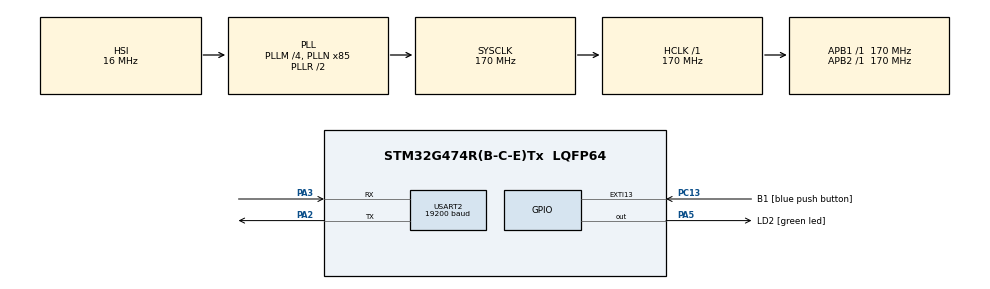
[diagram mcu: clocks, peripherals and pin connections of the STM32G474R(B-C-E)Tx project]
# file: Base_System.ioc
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Dma.Request0=USART2_TX
Dma.Request1=USART2_RX
Dma.USART2_RX.1.Direction=DMA_PERIPH_TO_MEMORY
Dma.USART2_RX.1.EventEnable=DISABLE
Dma.USART2_RX.1.Instance=DMA1_Channel2
Dma.USART2_RX.1.MemDataAlignment=DMA_MDATAALIGN_BYTE
Dma.USART2_RX.1.MemInc=DMA_MINC_ENABLE
Dma.USART2_RX.1.Mode=DMA_NORMAL
Dma.USART2_RX.1.PeriphDataAlignment=DMA_PDATAALIGN_BYTE
Dma.USART2_RX.1.PeriphInc=DMA_PINC_DISABLE
Dma.USART2_RX.1.Polarity=HAL_DMAMUX_REQ_GEN_RISING
Dma.USART2_RX.1.Priority=DMA_PRIORITY_LOW
Dma.USART2_RX.1.RequestNumber=1
Dma.USART2_RX.1.SignalID=NONE
Dma.USART2_RX.1.SyncEnable=DISABLE
Dma.USART2_RX.1.SyncPolarity=HAL_DMAMUX_SYNC_NO_EVENT
Dma.USART2_RX.1.SyncRequestNumber=1
Dma.USART2_RX.1.SyncSignalID=NONE
Dma.USART2_TX.0.Direction=DMA_MEMORY_TO_PERIPH
Dma.USART2_TX.0.EventEnable=DISABLE
Dma.USART2_TX.0.Instance=DMA1_Channel1
Dma.USART2_TX.0.MemDataAlignment=DMA_MDATAALIGN_BYTE
Dma.USART2_TX.0.MemInc=DMA_MINC_ENABLE
Dma.USART2_TX.0.Mode=DMA_NORMAL
Dma.USART2_TX.0.PeriphDataAlignment=DMA_PDATAALIGN_BYTE
Dma.USART2_TX.0.PeriphInc=DMA_PINC_DISABLE
Dma.USART2_TX.0.Polarity=HAL_DMAMUX_REQ_GEN_RISING
Dma.USART2_TX.0.Priority=DMA_PRIORITY_LOW
Dma.USART2_TX.0.RequestNumber=1
Dma.USART2_TX.0.SignalID=NONE
Dma.USART2_TX.0.SyncEnable=DISABLE
Dma.USART2_TX.0.SyncPolarity=HAL_DMAMUX_SYNC_NO_EVENT
Dma.USART2_TX.0.SyncRequestNumber=1
Dma.USART2_TX.0.SyncSignalID=NONE
Mcu.Family=STM32G4
Mcu.Name=STM32G474R(B-C-E)Tx
Mcu.Package=LQFP64
NVIC.DMA1_Channel1_IRQn=true\:0\:0\:false\:false\:true\:false\:true\:true
NVIC.DMA1_Channel2_IRQn=true\:0\:0\:false\:false\:true\:false\:true\:true
NVIC.EXTI15_10_IRQn=true\:0\:0\:false\:false\:true\:true\:true\:true
NVIC.PriorityGroup=NVIC_PRIORITYGROUP_4
NVIC.TIM1_UP_TIM16_IRQn=true\:0\:0\:false\:false\:true\:true\:true\:true
NVIC.USART2_IRQn=true\:0\:0\:false\:false\:true\:true\:true\:true
PA13.GPIO_Label=T_SWDIO
PA13.Signal=SYS_JTMS-SWDIO
PA14.GPIO_Label=T_SWCLK
PA14.Signal=SYS_JTCK-SWCLK
PA2.Mode=Asynchronous
PA2.Signal=USART2_TX
PA3.Mode=Asynchronous
PA3.Signal=USART2_RX
PA5.GPIO_Label=LD2 [green led]
PA5.Signal=GPIO_Output
PB3.GPIO_Label=T_SWO
PB3.Signal=SYS_JTDO-SWO
PC13.GPIO_Label=B1 [blue push button]
PC13.Signal=GPXTI13
PC14-OSC32_IN.GPIO_Label=RCC_OSC32_IN
PC14-OSC32_IN.Signal=RCC_OSC32_IN
PC15-OSC32_OUT.GPIO_Label=RCC_OSC32_OUT
PC15-OSC32_OUT.Signal=RCC_OSC32_OUT
PF0-OSC_IN.GPIO_Label=RCC_OSC_IN
PF0-OSC_IN.Signal=RCC_OSC_IN
PF1-OSC_OUT.GPIO_Label=RCC_OSC_OUT
PF1-OSC_OUT.Signal=RCC_OSC_OUT
ProjectManager.HeapSize=0x200
ProjectManager.StackSize=0x400
ProjectManager.TargetToolchain=STM32CubeIDE
RCC.ADC12Freq_Value=170000000
RCC.ADC345Freq_Value=170000000
RCC.AHBFreq_Value=170000000
RCC.APB1Freq_Value=170000000
RCC.APB1TimFreq_Value=170000000
RCC.APB2Freq_Value=170000000
RCC.APB2TimFreq_Value=170000000
RCC.CortexFreq_Value=170000000
RCC.EXTERNAL_CLOCK_VALUE=12288000
RCC.HCLKFreq_Value=170000000
RCC.HSE_VALUE=24000000
RCC.HSI48_VALUE=48000000
RCC.HSI_VALUE=16000000
RCC.LSE_VALUE=32768
RCC.PLLM=RCC_PLLM_DIV4
RCC.PLLN=85
RCC.RTCClockSelection=RCC_RTCCLKSOURCE_LSE
RCC.SYSCLKFreq_VALUE=170000000
RCC.SYSCLKSource=RCC_SYSCLKSOURCE_PLLCLK
RCC.USBFreq_Value=170000000
RCC.VCOOutputFreq_Value=340000000
TIM16.Channel=TIM_CHANNEL_1
TIM16.PeriodNoDither=1145
TIM16.Prescaler=169
USART2.BaudRate=19200
USART2.Parity=PARITY_EVEN
USART2.VirtualMode-Asynchronous=VM_ASYNC
USART2.WordLength=WORDLENGTH_9B
VP_SYS_VS_DBSignals.Mode=DisableDeadBatterySignals
VP_TIM16_VS_ClockSourceINT.Mode=Enable_Timer
VP_TIM16_VS_OPM.Mode=OPM_bit
VP_TIM16_VS_no_output1.Mode=Output Compare1 No Output
board=NUCLEO-G474RE

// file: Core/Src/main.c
/* USER CODE BEGIN Header */
/**
  ******************************************************************************
  * @file           : main.c
  * @brief          : Main program body
  ******************************************************************************
  * @attention
  *
  * Copyright (c) 2026 STMicroelectronics.
  * All rights reserved.
  *
  * This software is licensed under terms that can be found in the LICENSE file
  * in the root directory of this software component.
  * If no LICENSE file comes with this software, it is provided AS-IS.
  *
  ******************************************************************************
  */
/* USER CODE END Header */
#include "main.h"

/* USER CODE BEGIN Includes */
#include "BaseSystem.h"
/* USER CODE END Includes */

TIM_HandleTypeDef htim16;

UART_HandleTypeDef huart2;
DMA_HandleTypeDef hdma_usart2_tx;
DMA_HandleTypeDef hdma_usart2_rx;

/* USER CODE BEGIN PV */
float Cur_Pos;
float Cur_Vel;
float Cur_Acc;
uint16_t Task;
bool Emergency;
bool Grip_up;
//bool Grip_down;
bool Grip_close;
/* USER CODE END PV */

void SystemClock_Config(void);
static void MX_GPIO_Init(void);
static void MX_DMA_Init(void);
static void MX_TIM16_Init(void);
static void MX_USART2_UART_Init(void);

int main(void)
{

  /* MCU Configuration--------------------------------------------------------*/

  /* Reset of all peripherals, Initializes the Flash interface and the Systick. */
  HAL_Init();

  /* Configure the system clock */
  SystemClock_Config();

  /* Initialize all configured peripherals */
  MX_GPIO_Init();
  MX_DMA_Init();
  MX_TIM16_Init();
  MX_USART2_UART_Init();
  /* USER CODE BEGIN 2 */
  hmodbus.huart = &huart2; // เปลี่ยนเป็น huart ของคุณ (เช่น huart1 หรือ huart2)
  hmodbus.htim = &htim16;
  hmodbus.slaveAddress = 0x15;
  hmodbus.RegisterSize = BASE_SYSTEM_REG_COUNT;

  Modbus_init(&hmodbus, registerFrame);
  /* USER CODE END 2 */

  /* Infinite loop */
  while (1)
  {

    /* USER CODE BEGIN 3 */
	  Modbus_Protocal_Worker();
	  BaseSystem_SendMotionStatus(Cur_Pos, Cur_Vel, Cur_Acc);
	  BaseSystem_SendRobotTask(Task,Emergency);
	  BaseSystem_SendSensorStatus(Grip_up,!Grip_up,Grip_close);
  }
  /* USER CODE END 3 */
}

void SystemClock_Config(void)
{
  RCC_OscInitTypeDef RCC_OscInitStruct = {0};
  RCC_ClkInitTypeDef RCC_ClkInitStruct = {0};

  /** Configure the main internal regulator output voltage
  */
  HAL_PWREx_ControlVoltageScaling(PWR_REGULATOR_VOLTAGE_SCALE1_BOOST);

  /** Initializes the RCC Oscillators according to the specified parameters
  * in the RCC_OscInitTypeDef structure.
  */
  RCC_OscInitStruct.OscillatorType = RCC_OSCILLATORTYPE_HSI;
  RCC_OscInitStruct.HSIState = RCC_HSI_ON;
  RCC_OscInitStruct.HSICalibrationValue = RCC_HSICALIBRATION_DEFAULT;
  RCC_OscInitStruct.PLL.PLLState = RCC_PLL_ON;
  RCC_OscInitStruct.PLL.PLLSource = RCC_PLLSOURCE_HSI;
  RCC_OscInitStruct.PLL.PLLM = RCC_PLLM_DIV4;
  RCC_OscInitStruct.PLL.PLLN = 85;
  RCC_OscInitStruct.PLL.PLLP = RCC_PLLP_DIV2;
  RCC_OscInitStruct.PLL.PLLQ = RCC_PLLQ_DIV2;
  RCC_OscInitStruct.PLL.PLLR = RCC_PLLR_DIV2;
  if (HAL_RCC_OscConfig(&RCC_OscInitStruct) != HAL_OK)
  {
    Error_Handler();
  }

  /** Initializes the CPU, AHB and APB buses clocks
  */
  RCC_ClkInitStruct.ClockType = RCC_CLOCKTYPE_HCLK|RCC_CLOCKTYPE_SYSCLK
                              |RCC_CLOCKTYPE_PCLK1|RCC_CLOCKTYPE_PCLK2;
  RCC_ClkInitStruct.SYSCLKSource = RCC_SYSCLKSOURCE_PLLCLK;
  RCC_ClkInitStruct.AHBCLKDivider = RCC_SYSCLK_DIV1;
  RCC_ClkInitStruct.APB1CLKDivider = RCC_HCLK_DIV1;
  RCC_ClkInitStruct.APB2CLKDivider = RCC_HCLK_DIV1;

  if (HAL_RCC_ClockConfig(&RCC_ClkInitStruct, FLASH_LATENCY_4) != HAL_OK)
  {
    Error_Handler();
  }
}

static void MX_TIM16_Init(void)
{

  TIM_OC_InitTypeDef sConfigOC = {0};
  TIM_BreakDeadTimeConfigTypeDef sBreakDeadTimeConfig = {0};

  htim16.Instance = TIM16;
  htim16.Init.Prescaler = 169;
  htim16.Init.CounterMode = TIM_COUNTERMODE_UP;
  htim16.Init.Period = 1145;
  htim16.Init.ClockDivision = TIM_CLOCKDIVISION_DIV1;
  htim16.Init.RepetitionCounter = 0;
  htim16.Init.AutoReloadPreload = TIM_AUTORELOAD_PRELOAD_DISABLE;
  if (HAL_TIM_Base_Init(&htim16) != HAL_OK)
  {
    Error_Handler();
  }
  if (HAL_TIM_OC_Init(&htim16) != HAL_OK)
  {
    Error_Handler();
  }
  if (HAL_TIM_OnePulse_Init(&htim16, TIM_OPMODE_SINGLE) != HAL_OK)
  {
    Error_Handler();
  }
  sConfigOC.OCMode = TIM_OCMODE_TIMING;
  sConfigOC.Pulse = 0;
  sConfigOC.OCPolarity = TIM_OCPOLARITY_HIGH;
  sConfigOC.OCNPolarity = TIM_OCNPOLARITY_HIGH;
  sConfigOC.OCFastMode = TIM_OCFAST_DISABLE;
  sConfigOC.OCIdleState = TIM_OCIDLESTATE_RESET;
  sConfigOC.OCNIdleState = TIM_OCNIDLESTATE_RESET;
  if (HAL_TIM_OC_ConfigChannel(&htim16, &sConfigOC, TIM_CHANNEL_1) != HAL_OK)
  {
    Error_Handler();
  }
  sBreakDeadTimeConfig.OffStateRunMode = TIM_OSSR_DISABLE;
  sBreakDeadTimeConfig.OffStateIDLEMode = TIM_OSSI_DISABLE;
  sBreakDeadTimeConfig.LockLevel = TIM_LOCKLEVEL_OFF;
  sBreakDeadTimeConfig.DeadTime = 0;
  sBreakDeadTimeConfig.BreakState = TIM_BREAK_DISABLE;
  sBreakDeadTimeConfig.BreakPolarity = TIM_BREAKPOLARITY_HIGH;
  sBreakDeadTimeConfig.BreakFilter = 0;
  sBreakDeadTimeConfig.AutomaticOutput = TIM_AUTOMATICOUTPUT_DISABLE;
  if (HAL_TIMEx_ConfigBreakDeadTime(&htim16, &sBreakDeadTimeConfig) != HAL_OK)
  {
    Error_Handler();
  }

}

static void MX_USART2_UART_Init(void)
{

  huart2.Instance = USART2;
  huart2.Init.BaudRate = 19200;
  huart2.Init.WordLength = UART_WORDLENGTH_9B;
  huart2.Init.StopBits = UART_STOPBITS_1;
  huart2.Init.Parity = UART_PARITY_EVEN;
  huart2.Init.Mode = UART_MODE_TX_RX;
  huart2.Init.HwFlowCtl = UART_HWCONTROL_NONE;
  huart2.Init.OverSampling = UART_OVERSAMPLING_16;
  huart2.Init.OneBitSampling = UART_ONE_BIT_SAMPLE_DISABLE;
  huart2.Init.ClockPrescaler = UART_PRESCALER_DIV1;
  huart2.AdvancedInit.AdvFeatureInit = UART_ADVFEATURE_NO_INIT;
  if (HAL_UART_Init(&huart2) != HAL_OK)
  {
    Error_Handler();
  }
  if (HAL_UARTEx_SetTxFifoThreshold(&huart2, UART_TXFIFO_THRESHOLD_1_8) != HAL_OK)
  {
    Error_Handler();
  }
  if (HAL_UARTEx_SetRxFifoThreshold(&huart2, UART_RXFIFO_THRESHOLD_1_8) != HAL_OK)
  {
    Error_Handler();
  }
  if (HAL_UARTEx_DisableFifoMode(&huart2) != HAL_OK)
  {
    Error_Handler();
  }

}

static void MX_DMA_Init(void)
{

  /* DMA controller clock enable */
  __HAL_RCC_DMAMUX1_CLK_ENABLE();
  __HAL_RCC_DMA1_CLK_ENABLE();

  /* DMA interrupt init */
  /* DMA1_Channel1_IRQn interrupt configuration */
  HAL_NVIC_SetPriority(DMA1_Channel1_IRQn, 0, 0);
  HAL_NVIC_EnableIRQ(DMA1_Channel1_IRQn);
  /* DMA1_Channel2_IRQn interrupt configuration */
  HAL_NVIC_SetPriority(DMA1_Channel2_IRQn, 0, 0);
  HAL_NVIC_EnableIRQ(DMA1_Channel2_IRQn);

}

static void MX_GPIO_Init(void)
{
  GPIO_InitTypeDef GPIO_InitStruct = {0};

  /* GPIO Ports Clock Enable */
  __HAL_RCC_GPIOC_CLK_ENABLE();
  __HAL_RCC_GPIOF_CLK_ENABLE();
  __HAL_RCC_GPIOA_CLK_ENABLE();
  __HAL_RCC_GPIOB_CLK_ENABLE();

  /*Configure GPIO pin Output Level */
  HAL_GPIO_WritePin(LD2_GPIO_Port, LD2_Pin, GPIO_PIN_RESET);

  /*Configure GPIO pin : B1_Pin */
  GPIO_InitStruct.Pin = B1_Pin;
  GPIO_InitStruct.Mode = GPIO_MODE_IT_RISING;
  GPIO_InitStruct.Pull = GPIO_NOPULL;
  HAL_GPIO_Init(B1_GPIO_Port, &GPIO_InitStruct);

  /*Configure GPIO pin : LD2_Pin */
  GPIO_InitStruct.Pin = LD2_Pin;
  GPIO_InitStruct.Mode = GPIO_MODE_OUTPUT_PP;
  GPIO_InitStruct.Pull = GPIO_NOPULL;
  GPIO_InitStruct.Speed = GPIO_SPEED_FREQ_LOW;
  HAL_GPIO_Init(LD2_GPIO_Port, &GPIO_InitStruct);

  /* EXTI interrupt init*/
  HAL_NVIC_SetPriority(EXTI15_10_IRQn, 0, 0);
  HAL_NVIC_EnableIRQ(EXTI15_10_IRQn);

}

void Error_Handler(void)
{
  __disable_irq();
  while (1)
  {
  }
}
